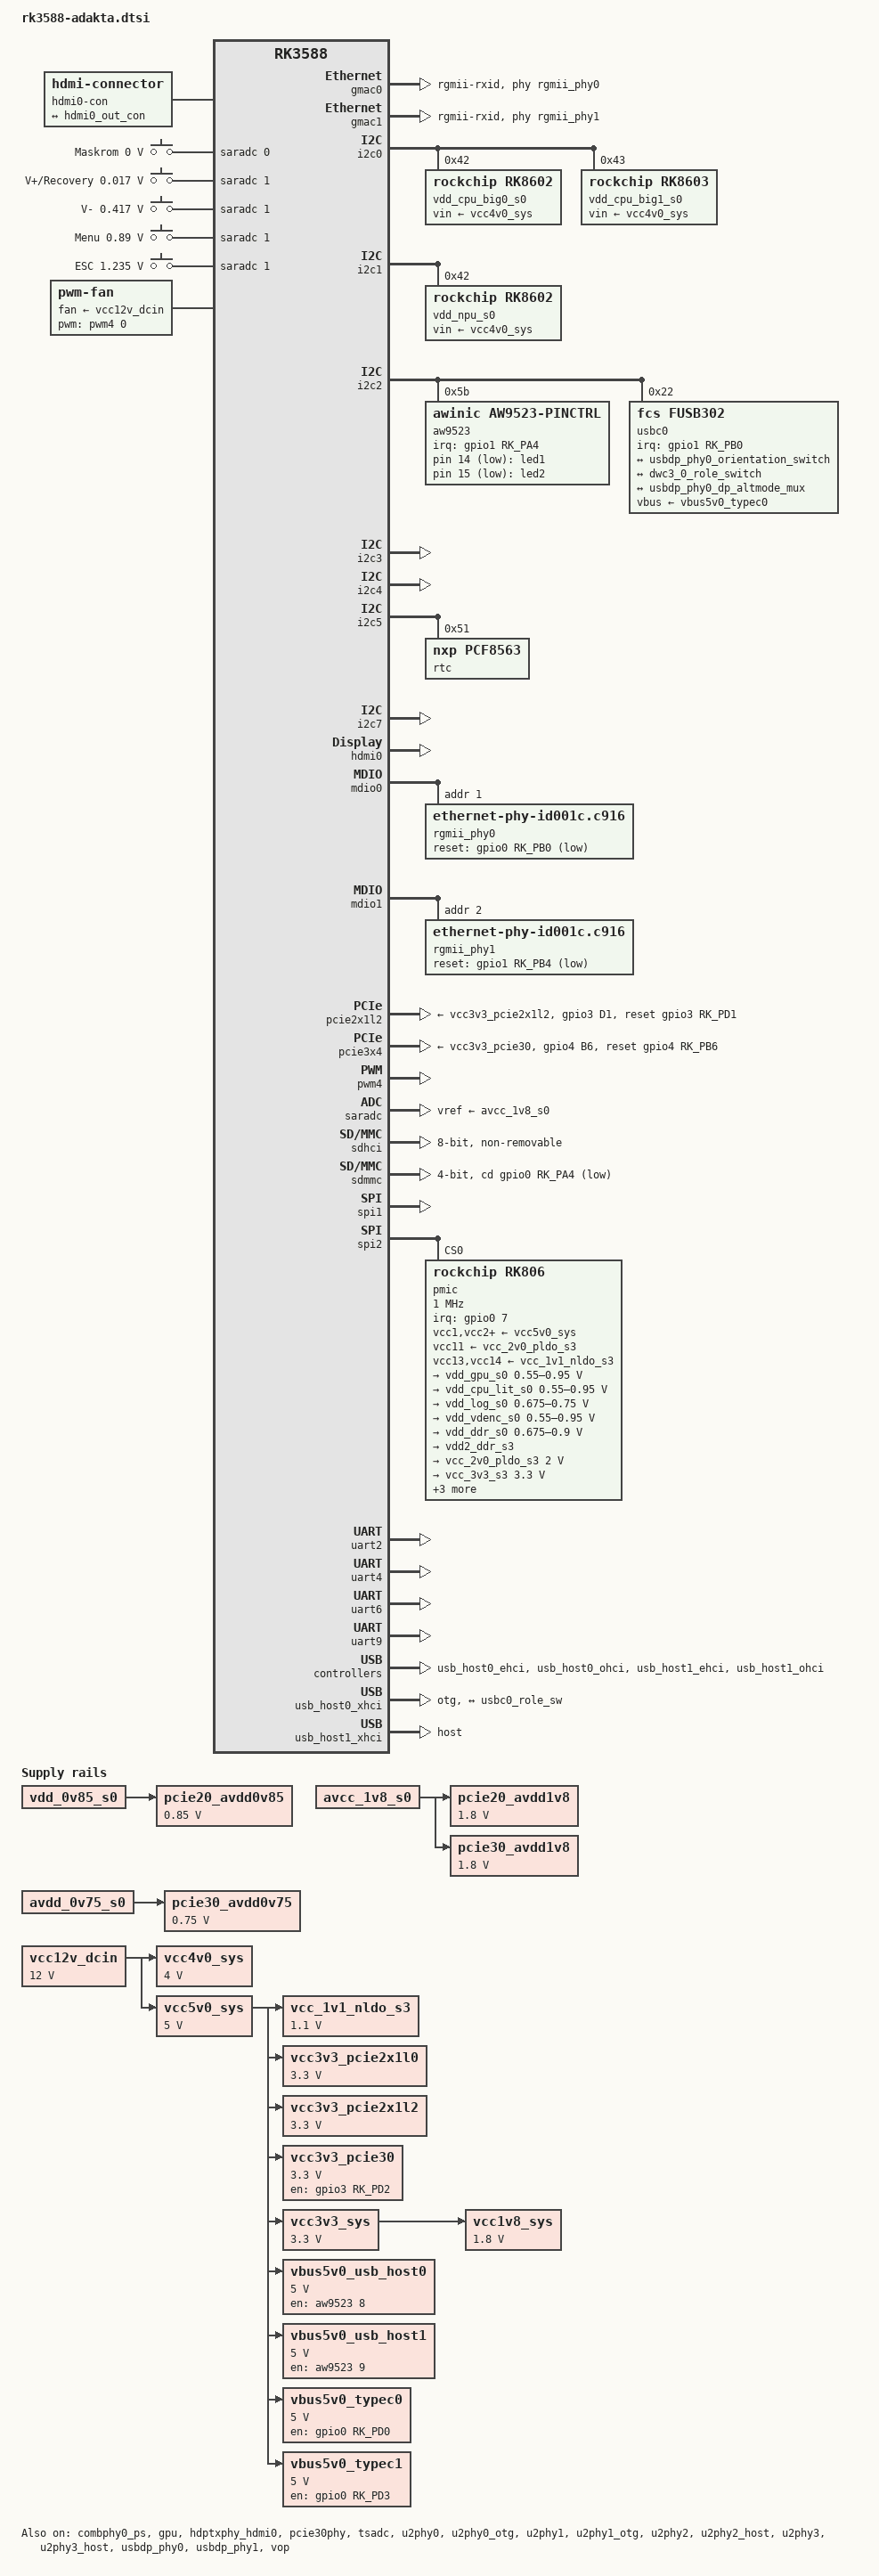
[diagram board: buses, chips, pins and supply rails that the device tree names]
// SPDX-License-Identifier: (GPL-2.0+ OR MIT)

#include <dt-bindings/gpio/gpio.h>
#include <dt-bindings/input/input.h>
#include <dt-bindings/leds/common.h>
#include <dt-bindings/soc/rockchip,vop2.h>
#include <dt-bindings/usb/pd.h>
#include "rk3588.dtsi"
//#include "rk3588-extra-old.dtsi"
#include "rk3588-extra-new.dtsi"

/ {
	compatible = "adakta,adakta-rk3588", "rockchip,rk3588";

	aliases {
		ethernet0 = &gmac0;
		ethernet1 = &gmac1;
		mmc0 = &sdhci;
		mmc1 = &sdmmc;
	};

	chosen {
		stdout-path = "serial2:1500000n8";
	};

	hdmi0-con {
		compatible = "hdmi-connector";
		type = "d";

		port {
			hdmi0_con_in: endpoint {
				remote-endpoint = <&hdmi0_out_con>;
			};
		};
	};

	pcie20_avdd0v85: pcie20-avdd0v85-regulator {
		compatible = "regulator-fixed";
		regulator-name = "pcie20_avdd0v85";
		regulator-always-on;
		regulator-boot-on;
		regulator-min-microvolt = <850000>;
		regulator-max-microvolt = <850000>;
		vin-supply = <&vdd_0v85_s0>;
	};

	pcie20_avdd1v8: pcie20-avdd1v8-regulator {
		compatible = "regulator-fixed";
		regulator-name = "pcie20_avdd1v8";
		regulator-always-on;
		regulator-boot-on;
		regulator-min-microvolt = <1800000>;
		regulator-max-microvolt = <1800000>;
		vin-supply = <&avcc_1v8_s0>;
	};

	pcie30_avdd0v75: pcie30-avdd0v75-regulator {
		compatible = "regulator-fixed";
		regulator-name = "pcie30_avdd0v75";
		regulator-always-on;
		regulator-boot-on;
		regulator-min-microvolt = <750000>;
		regulator-max-microvolt = <750000>;
		vin-supply = <&avdd_0v75_s0>;
	};

	pcie30_avdd1v8: pcie30-avdd1v8-regulator {
		compatible = "regulator-fixed";
		regulator-name = "pcie30_avdd1v8";
		regulator-always-on;
		regulator-boot-on;
		regulator-min-microvolt = <1800000>;
		regulator-max-microvolt = <1800000>;
		vin-supply = <&avcc_1v8_s0>;
	};

	vcc_1v1_nldo_s3: vcc-1v1-nldo-s3-regulator {
		compatible = "regulator-fixed";
		regulator-name = "vcc_1v1_nldo_s3";
		regulator-always-on;
		regulator-boot-on;
		regulator-min-microvolt = <1100000>;
		regulator-max-microvolt = <1100000>;
		vin-supply = <&vcc5v0_sys>;
	};

	vcc4v0_sys: vcc4v0-sys-regulator {
		compatible = "regulator-fixed";
		regulator-name = "vcc4v0_sys";
		regulator-always-on;
		regulator-boot-on;
		regulator-min-microvolt = <4000000>;
		regulator-max-microvolt = <4000000>;
		vin-supply = <&vcc12v_dcin>;
	};

	vcc12v_dcin: vcc12v-dcin-regulator {
		compatible = "regulator-fixed";
		regulator-name = "vcc12v_dcin";
		regulator-always-on;
		regulator-boot-on;
		regulator-min-microvolt = <12000000>;
		regulator-max-microvolt = <12000000>;
	};

	vcc1v8_sys: vcc1v8-sys-regulator {
		compatible = "regulator-fixed";
		regulator-name = "vcc1v8_sys";
		regulator-always-on;
		regulator-boot-on;
		regulator-min-microvolt = <1800000>;
		regulator-max-microvolt = <1800000>;
		vin-supply = <&vcc3v3_sys>;
	};

	vcc3v3_pcie2x1l0: vcc3v3-pcie2x1l0-regulator {
		compatible = "regulator-fixed";
		regulator-name = "vcc3v3_pcie2x1l0";
		regulator-min-microvolt = <3300000>;
		regulator-max-microvolt = <3300000>;
		startup-delay-us = <50000>;
		vin-supply = <&vcc5v0_sys>;
	};

	vcc3v3_pcie2x1l2: vcc3v3-pcie2x1l2-regulator {
		compatible = "regulator-fixed";
		regulator-name = "vcc3v3_pcie2x1l2";
		regulator-min-microvolt = <3300000>;
		regulator-max-microvolt = <3300000>;
		startup-delay-us = <5000>;
		vin-supply = <&vcc5v0_sys>;
	};

	vcc3v3_pcie30: vcc3v3_pcie30-regulator {
		compatible = "regulator-fixed";
		regulator-name = "vcc3v3_pcie30";
		regulator-min-microvolt = <3300000>;
		regulator-max-microvolt = <3300000>;
		vin-supply = <&vcc5v0_sys>;
		enable-active-high;
		gpios = <&gpio3 RK_PD2 GPIO_ACTIVE_HIGH>;
		startup-delay-us = <5000>;
		pinctrl-names = "default";
		pinctrl-0 = <&pcie3_pwr_en>;
	};

	vcc3v3_sys: vcc3v3-sys-regulator {
		compatible = "regulator-fixed";
		regulator-name = "vcc3v3_sys";
		regulator-always-on;
		regulator-boot-on;
		regulator-min-microvolt = <3300000>;
		regulator-max-microvolt = <3300000>;
		vin-supply = <&vcc5v0_sys>;
	};

	vcc5v0_sys: vcc5v0-sys-regulator {
		compatible = "regulator-fixed";
		regulator-name = "vcc5v0_sys";
		regulator-always-on;
		regulator-boot-on;
		regulator-min-microvolt = <5000000>;
		regulator-max-microvolt = <5000000>;
		vin-supply = <&vcc12v_dcin>;
	};

	vbus5v0_usb_host0: vbus5v0-usb-host0 {
		compatible = "regulator-fixed";
		regulator-name = "vbus5v0_usb_host0";
		regulator-min-microvolt = <5000000>;
		regulator-max-microvolt = <5000000>;
		enable-active-high;
		gpio = <&aw9523 8 GPIO_ACTIVE_HIGH>;
		vin-supply = <&vcc5v0_sys>;
		pinctrl-names = "default";
		pinctrl-0 = <&aw9523_pwr_en_usb_host0_pins>;
	};

	vbus5v0_usb_host1: vbus5v0-usb-host1 {
		compatible = "regulator-fixed";
		regulator-name = "vbus5v0_usb_host1";
		regulator-min-microvolt = <5000000>;
		regulator-max-microvolt = <5000000>;
		enable-active-high;
		gpio = <&aw9523 9 GPIO_ACTIVE_HIGH>;
		vin-supply = <&vcc5v0_sys>;
		pinctrl-names = "default";
		pinctrl-0 = <&aw9523_pwr_en_usb_host1_pins>;
	};

	vbus5v0_typec0: vbus5v0-typec0 {
		compatible = "regulator-fixed";
		regulator-name = "vbus5v0_typec0";
		regulator-min-microvolt = <5000000>;
		regulator-max-microvolt = <5000000>;
		enable-active-high;
		gpio = <&gpio0 RK_PD0 GPIO_ACTIVE_HIGH>;
		vin-supply = <&vcc5v0_sys>;
		pinctrl-names = "default";
		pinctrl-0 = <&typec0_pwr_en>;
	};

	vbus5v0_typec1: vbus5v0-typec1 {
		compatible = "regulator-fixed";
		regulator-name = "vbus5v0_typec1";
		regulator-min-microvolt = <5000000>;
		regulator-max-microvolt = <5000000>;
		enable-active-high;
		gpio = <&gpio0 RK_PD3 GPIO_ACTIVE_HIGH>;
		vin-supply = <&vcc5v0_sys>;
		pinctrl-names = "default";
		pinctrl-0 = <&typec1_pwr_en>;
	};

	gpio-leds {
		compatible = "gpio-leds";
		pinctrl-names = "default";
		pinctrl-0 = <&aw9523_gpio_pins &aw9523_led_pins &atlas200_pwr_en &extra_out_pins>;

		aw9523_led_1: led1 {
			label = "led1";
			gpios = <&aw9523 14 GPIO_ACTIVE_LOW>;
		};

		aw9523_led_2: led2 {
			label = "led2";
			gpios = <&aw9523 15 GPIO_ACTIVE_LOW>;
		};
	};

	gpio-keys {
		compatible = "gpio-keys";
		pinctrl-names = "default";
		pinctrl-0 = <&atlas200_int &atlas200_det &extra_in_pins>;
	};

	// TODO: ???
	adc-keys-0 {
		compatible = "adc-keys";
		io-channels = <&saradc 0>;
		io-channel-names = "buttons";
		keyup-threshold-microvolt = <1800000>;
		poll-interval = <100>;

		button-maskrom {
			label = "Maskrom";
			linux,code = <KEY_SETUP>;
			press-threshold-microvolt = <400>;
		};
	};

	// TODO: ???
	adc-keys-1 {
		compatible = "adc-keys";
		io-channels = <&saradc 1>;
		io-channel-names = "buttons";
		keyup-threshold-microvolt = <1800000>;
		poll-interval = <100>;

		button-volume-up {
			label = "V+/Recovery";
			linux,code = <KEY_VOLUMEUP>;
			press-threshold-microvolt = <17000>;
		};

		button-volume-down {
			label = "V-";
			linux,code = <KEY_VOLUMEDOWN>;
			press-threshold-microvolt = <417000>;
		};

		button-menu {
			label = "Menu";
			linux,code = <KEY_MENU>;
			press-threshold-microvolt = <890000>;
		};

		button-escape {
			label = "ESC";
			linux,code = <KEY_ESC>;
			press-threshold-microvolt = <1235000>;
		};
	};

	fan: pwm-fan {
		compatible = "pwm-fan";
		cooling-levels = <0 95 145 195 255>;
		fan-supply = <&vcc12v_dcin>;
		pwms = <&pwm4 0 50000 0>;
		#cooling-cells = <2>;
	};
};

&combphy0_ps {
	status = "okay";
};

&combphy1_ps {
	status = "disabled";
};

&combphy2_psu {
	status = "disabled";
};

&cpu_b0 {
	cpu-supply = <&vdd_cpu_big0_s0>;
	mem-supply = <&vdd_cpu_big0_s0>;
};

&cpu_b1 {
	cpu-supply = <&vdd_cpu_big0_s0>;
	mem-supply = <&vdd_cpu_big0_s0>;
};

&cpu_b2 {
	cpu-supply = <&vdd_cpu_big1_s0>;
	mem-supply = <&vdd_cpu_big1_s0>;
};

&cpu_b3 {
	cpu-supply = <&vdd_cpu_big1_s0>;
	mem-supply = <&vdd_cpu_big1_s0>;
};

&cpu_l0 {
	cpu-supply = <&vdd_cpu_lit_s0>;
	mem-supply = <&vdd_cpu_lit_mem_s0>;
};

&cpu_l1 {
	cpu-supply = <&vdd_cpu_lit_s0>;
	mem-supply = <&vdd_cpu_lit_mem_s0>;
};

&cpu_l2 {
	cpu-supply = <&vdd_cpu_lit_s0>;
	mem-supply = <&vdd_cpu_lit_mem_s0>;
};

&cpu_l3 {
	cpu-supply = <&vdd_cpu_lit_s0>;
	mem-supply = <&vdd_cpu_lit_mem_s0>;
};

&gmac0 {
	clock_in_out = "output";
	phy-handle = <&rgmii_phy0>;
	phy-mode = "rgmii-rxid";
	pinctrl-names = "default";
	pinctrl-0 = <&gmac0_miim
		     &gmac0_tx_bus2
		     &gmac0_rx_bus2
		     &gmac0_rgmii_clk
		     &gmac0_rgmii_bus>;
	tx_delay = <0x44>;
	rx_delay = <0x00>;
	status = "okay";
};

&gmac1 {
	clock_in_out = "output";
	phy-handle = <&rgmii_phy1>;
	phy-mode = "rgmii-rxid";
	pinctrl-names = "default";
	pinctrl-0 = <&gmac1_miim
		     &gmac1_tx_bus2
		     &gmac1_rx_bus2
		     &gmac1_rgmii_clk
		     &gmac1_rgmii_bus>;
	tx_delay = <0x44>;
	rx_delay = <0x00>;
	status = "okay";
};

&gpu {
	mali-supply = <&vdd_gpu_s0>;
	status = "okay";
};

&i2c0 {
	pinctrl-names = "default";
	pinctrl-0 = <&i2c0m2_xfer>;
	status = "okay";

	vdd_cpu_big0_s0: regulator@42 {
		compatible = "rockchip,rk8602";
		reg = <0x42>;
		fcs,suspend-voltage-selector = <1>;
		regulator-name = "vdd_cpu_big0_s0";
		regulator-always-on;
		regulator-boot-on;
		regulator-min-microvolt = <550000>;
		regulator-max-microvolt = <1050000>;
		regulator-ramp-delay = <2300>;
		vin-supply = <&vcc4v0_sys>;

		regulator-state-mem {
			regulator-off-in-suspend;
		};
	};

	vdd_cpu_big1_s0: regulator@43 {
		compatible = "rockchip,rk8603", "rockchip,rk8602";
		reg = <0x43>;
		fcs,suspend-voltage-selector = <1>;
		regulator-name = "vdd_cpu_big1_s0";
		regulator-always-on;
		regulator-boot-on;
		regulator-min-microvolt = <550000>;
		regulator-max-microvolt = <1050000>;
		regulator-ramp-delay = <2300>;
		vin-supply = <&vcc4v0_sys>;

		regulator-state-mem {
			regulator-off-in-suspend;
		};
	};
};

&i2c1 {
	pinctrl-names = "default";
	pinctrl-0 = <&i2c1m2_xfer>;
	status = "okay";

	vdd_npu_s0: regulator@42 {
		compatible = "rockchip,rk8602";
		reg = <0x42>;
		fcs,suspend-voltage-selector = <1>;
		regulator-name = "vdd_npu_s0";
		regulator-always-on;
		regulator-boot-on;
		regulator-min-microvolt = <550000>;
		regulator-max-microvolt = <950000>;
		regulator-ramp-delay = <2300>;
		vin-supply = <&vcc4v0_sys>;

		regulator-state-mem {
			regulator-off-in-suspend;
		};
	};
};

&i2c2 {
	pinctrl-names = "default";
	pinctrl-0 = <&i2c2m0_xfer>;
	status = "okay";

	aw9523: gpio-expander@5b {
		compatible = "awinic,aw9523-pinctrl";
		reg = <0x5b>;
		gpio-controller;
		#gpio-cells = <2>;

		pinctrl-names = "default";
		pinctrl-0 = <&aw9523_int>;

		interrupts-extended = <&gpio1 RK_PA4 IRQ_TYPE_EDGE_FALLING>;

		status = "okay";

		/omit-if-no-ref/
		aw9523_cam0_reset_pins: aw9523-cam0-reset-pins {
			pins = "gpio0";
			function = "gpio";
			input-disable;
			output-high;
		};

		/omit-if-no-ref/
		aw9523_cam0_powerdown_pins: aw9523-cam0-powerdown-pins {
			pins = "gpio1";
			function = "gpio";
			input-disable;
			output-low;
		};

		/omit-if-no-ref/
		aw9523_cam1_reset_pins: aw9523-cam1-reset-pins {
			pins = "gpio2";
			function = "gpio";
			input-disable;
			output-high;
		};

		/omit-if-no-ref/
		aw9523_cam1_powerdown_pins: aw9523-cam1-powerdown-pins {
			pins = "gpio3";
			function = "gpio";
			input-disable;
			output-low;
		};

		/omit-if-no-ref/
		aw9523_cam2_reset_pins: aw9523-cam2-reset-pins {
			pins = "gpio4";
			function = "gpio";
			input-disable;
			output-high;
		};

		/omit-if-no-ref/
		aw9523_cam2_powerdown_pins: aw9523-cam2-powerdown-pins {
			pins = "gpio5";
			function = "gpio";
			input-disable;
			output-low;
		};

		/omit-if-no-ref/
		aw9523_cam3_cam4_reset_pins: aw9523-cam3-cam4-reset-pins {
			pins = "gpio7";
			function = "gpio";
			input-disable;
			output-high;
		};

		/omit-if-no-ref/
		aw9523_cam3_cam4_powerdown_pins: aw9523-cam3-cam4-powerdown-pins {
			pins = "gpio6";
			function = "gpio";
			input-disable;
			output-low;
		};

		/omit-if-no-ref/
		aw9523_pwr_en_usb_host0_pins: aw9523-pwr-usb-host0-pins {
			pins = "gpio8";
			function = "gpio";
			input-disable;
			output-low;
		};

		/omit-if-no-ref/
		aw9523_pwr_en_usb_host1_pins: aw9523-pwr-usb-host1-pins {
			pins = "gpio9";
			function = "gpio";
			input-disable;
			output-low;
		};

		/omit-if-no-ref/
		aw9523_gpio_pins: aw9523-gpio-pins {
			pins = "gpio10", "gpio11", "gpio12", "gpio13";
			function = "gpio";
			input-disable;
			output-low;
		};

		/omit-if-no-ref/
		aw9523_led_pins: aw9523-led-pins {
			pins = "gpio14", "gpio15";
			function = "gpio";
			input-disable;
			output-low;
		};
	};

	usbc0: fusb302@22 {
		compatible = "fcs,fusb302";
		reg = <0x22>;
		interrupts-extended = <&gpio1 RK_PB0 IRQ_TYPE_LEVEL_LOW>;
		pinctrl-names = "default";
		pinctrl-0 = <&usbc0_int>;
		vbus-supply = <&vbus5v0_typec0>;
		status = "okay";

		usb_con: connector {
			compatible = "usb-c-connector";
			label = "USB-C";
			data-role = "dual";
			power-role = "dual";
			try-power-role = "sink";
			op-sink-microwatt = <1000000>;
			sink-pdos = <PDO_FIXED(5000, 1000, PDO_FIXED_USB_COMM)>;
			source-pdos = <PDO_FIXED(5000, 3000, PDO_FIXED_USB_COMM)>;

			// TODO:
			ports {
				#address-cells = <1>;
				#size-cells = <0>;

				port@0 {
					reg = <0>;

					usbc0_orien_sw: endpoint {
						remote-endpoint = <&usbdp_phy0_orientation_switch>;
					};
				};

				port@1 {
					reg = <1>;

					usbc0_role_sw: endpoint {
						remote-endpoint = <&dwc3_0_role_switch>;
					};
				};

				port@2 {
					reg = <2>;

					dp_altmode_mux: endpoint {
						remote-endpoint = <&usbdp_phy0_dp_altmode_mux>;
					};
				};
			};
		};
	};
};

&i2c3 {
	pinctrl-names = "default";
	pinctrl-0 = <&i2c3m0_xfer>;
	status = "okay";
};

&i2c4 {
	pinctrl-names = "default";
	pinctrl-0 = <&i2c4m1_xfer>;
	status = "okay";
};

&i2c5 {
	pinctrl-names = "default";
	pinctrl-0 = <&i2c5m2_xfer>;
	status = "okay";

	rtc: pcf8563@51 {
		compatible = "nxp,pcf8563";
		reg = <0x51>;
		status = "okay";
	};
};

&i2c7 {
	pinctrl-names = "default";
	pinctrl-0 = <&i2c7m0_xfer>;
	status = "okay";
};

&hdmi0 {
	pinctrl-names = "default";
	pinctrl-0 = <&hdmim0_tx0_cec
		     &hdmim1_tx0_hpd
		     &hdmim0_tx0_scl
		     &hdmim0_tx0_sda>;
	status = "okay";
};

&hdmi0_in {
	hdmi0_in_vp0: endpoint {
		remote-endpoint = <&vp0_out_hdmi0>;
	};
};

&hdmi0_out {
	hdmi0_out_con: endpoint {
		remote-endpoint = <&hdmi0_con_in>;
	};
};

&hdptxphy_hdmi0 {
	status = "okay";
};

&mdio0 {
	rgmii_phy0: ethernet-phy@1 {
		/* RTL8211F */
		compatible = "ethernet-phy-id001c.c916",
			     "ethernet-phy-ieee802.3-c22";
		reg = <0x1>;
		pinctrl-names = "default";
		pinctrl-0 = <&rtl8211f_0_rst>;
		reset-assert-us = <20000>;
		reset-deassert-us = <100000>;
		reset-gpios = <&gpio0 RK_PB0 GPIO_ACTIVE_LOW>;
	};
};

&mdio1 {
	rgmii_phy1: ethernet-phy@2 {
		/* RTL8211F */
		compatible = "ethernet-phy-id001c.c916",
			     "ethernet-phy-ieee802.3-c22";
		reg = <0x2>;
		pinctrl-names = "default";
		pinctrl-0 = <&rtl8211f_1_rst>;
		reset-assert-us = <20000>;
		reset-deassert-us = <100000>;
		reset-gpios = <&gpio1 RK_PB4 GPIO_ACTIVE_LOW>;
	};
};

&pcie2x1l0 {
	vpcie3v3-supply = <&vcc3v3_pcie2x1l0>;
	status = "disabled";
};

&pcie2x1l2 {
	pinctrl-names = "default";
	pinctrl-0 = <&pcie2_2_rst>;
	reset-gpios = <&gpio3 RK_PD1 GPIO_ACTIVE_HIGH>;
	vpcie3v3-supply = <&vcc3v3_pcie2x1l2>;
	status = "okay";
};

&pcie30phy {
	status = "okay";
};

&pcie3x4 {
	pinctrl-names = "default";
	pinctrl-0 = <&pcie3_rst>;
	reset-gpios = <&gpio4 RK_PB6 GPIO_ACTIVE_HIGH>;
	vpcie3v3-supply = <&vcc3v3_pcie30>;
	status = "okay";
};

&pd_gpu {
	domain-supply = <&vdd_gpu_s0>;
};

&pinctrl {
	aw9523 {
		/omit-if-no-ref/
		aw9523_int: aw9523-int-pin {
			rockchip,pins = <1 RK_PA4 RK_FUNC_GPIO &pcfg_pull_up>;
		};
	};

	atlas200 {
		/omit-if-no-ref/
		atlas200_int: atlas200-int {
			rockchip,pins = <1 RK_PA6 RK_FUNC_GPIO &pcfg_pull_up>;
		};

		/omit-if-no-ref/
		atlas200_det: atlas200-det {
			rockchip,pins = <1 RK_PB2 RK_FUNC_GPIO &pcfg_pull_none>;
		};

		/omit-if-no-ref/
		atlas200_pwr_en: atlas200-pwr-en {
			rockchip,pins = <3 RK_PD3 RK_FUNC_GPIO &pcfg_pull_none>;
		};
	};

	extra-gpios {
		/omit-if-no-ref/
		extra_out_pins: extra-out-pins {
			rockchip,pins = <2 RK_PC4 RK_FUNC_GPIO &pcfg_pull_none>, // EDP_HDP
					<4 RK_PA3 RK_FUNC_GPIO &pcfg_pull_none>,
					<4 RK_PA1 RK_FUNC_GPIO &pcfg_pull_none>,
					<0 RK_PC6 RK_FUNC_GPIO &pcfg_pull_none>,
					<0 RK_PC4 RK_FUNC_GPIO &pcfg_pull_none>,
					<4 RK_PB2 RK_FUNC_GPIO &pcfg_pull_none>,
					<4 RK_PB3 RK_FUNC_GPIO &pcfg_pull_none>;
		};

		/omit-if-no-ref/
		extra_in_pins: extra-in-pins {
			rockchip,pins = <4 RK_PA4 RK_FUNC_GPIO &pcfg_pull_none>,
					<4 RK_PA5 RK_FUNC_GPIO &pcfg_pull_none>;
		};
	};

	pcie2 {
		pcie2_2_rst: pcie2-2-rst {
			rockchip,pins = <3 RK_PD1 RK_FUNC_GPIO &pcfg_pull_none>;
		};
	};

	pcie3 {
		pcie3_rst: pcie3-rst {
			rockchip,pins = <4 RK_PB6 RK_FUNC_GPIO &pcfg_pull_none>;
		};

		pcie3_pwr_en: pcie3-pwr-en {
			rockchip,pins = <3 RK_PD2 RK_FUNC_GPIO &pcfg_pull_none>;
		};
	};

	rtl8211f {
		rtl8211f_0_rst: rtl8211f-0-rst {
			rockchip,pins = <0 RK_PB0 RK_FUNC_GPIO &pcfg_pull_none>;
		};
		rtl8211f_1_rst: rtl8211f-1-rst {
			rockchip,pins = <1 RK_PB4 RK_FUNC_GPIO &pcfg_pull_none>;
		};
	};

	usb-typec0 {
		/omit-if-no-ref/
		usbc0_int: usbc0-int {
			rockchip,pins = <1 RK_PB0 RK_FUNC_GPIO &pcfg_pull_up>;
		};

		/omit-if-no-ref/
		typec0_pwr_en: typec0-pwr-en {
			rockchip,pins = <0 RK_PD0 RK_FUNC_GPIO &pcfg_pull_none>;
		};

		/omit-if-no-ref/
		typec0_sbu1: typec0-sbu1 {
			rockchip,pins = <4 RK_PA0 RK_FUNC_GPIO &pcfg_pull_none>;
		};

		/omit-if-no-ref/
		typec0_sbu2: typec0-sbu2 {
			rockchip,pins = <4 RK_PB0 RK_FUNC_GPIO &pcfg_pull_none>;
		};
	};

	usb-typec1 {
		/omit-if-no-ref/
		usbc1_int: usbc1-int {
			rockchip,pins = <1 RK_PB3 RK_FUNC_GPIO &pcfg_pull_up>;
		};

		/omit-if-no-ref/
		typec1_pwr_en: typec1-pwr-en {
			rockchip,pins = <0 RK_PD3 RK_FUNC_GPIO &pcfg_pull_none>;
		};

		/omit-if-no-ref/
		typec1_sbu1: typec1-sbu1 {
			rockchip,pins = <4 RK_PA1 RK_FUNC_GPIO &pcfg_pull_none>;
		};

		/omit-if-no-ref/
		typec1_sbu2: typec1-sbu2 {
			rockchip,pins = <4 RK_PA2 RK_FUNC_GPIO &pcfg_pull_none>;
		};
	};
};

&pwm4 {
	status = "okay";
};

&saradc {
	vref-supply = <&avcc_1v8_s0>;
	status = "okay";
};

&sdhci {
	bus-width = <8>;
	mmc-hs400-1_8v;
	mmc-hs400-enhanced-strobe;
	no-sdio;
	no-sd;
	non-removable;
	status = "okay";
};

&sdmmc {
	bus-width = <4>;
	cap-mmc-highspeed;
	cap-sd-highspeed;
	cd-gpios = <&gpio0 RK_PA4 GPIO_ACTIVE_LOW>;
	disable-wp;
	max-frequency = <150000000>;
	no-sdio;
	no-mmc;
	sd-uhs-sdr104;
	vqmmc-supply = <&vccio_sd_s0>;
	status = "okay";
};

&spi1 {
	pinctrl-names = "default";
	pinctrl-0 = <&spi3m3_cs0 &spi3m3_cs1 &spi1m1_pins>;
	num-cs = <2>;
	status = "okay";
};

&spi2 {
	status = "okay";
	assigned-clocks = <&cru CLK_SPI2>;
	assigned-clock-rates = <200000000>;
	pinctrl-names = "default";
	pinctrl-0 = <&spi2m2_cs0 &spi2m2_pins>;
	num-cs = <1>;

	pmic@0 {
		compatible = "rockchip,rk806";
		spi-max-frequency = <1000000>;
		reg = <0x0>;

		interrupt-parent = <&gpio0>;
		interrupts = <7 IRQ_TYPE_LEVEL_LOW>;

		pinctrl-names = "default";
		pinctrl-0 = <&pmic_pins>, <&rk806_dvs1_null>,
			    <&rk806_dvs2_null>, <&rk806_dvs3_null>;

		system-power-controller;

		vcc1-supply = <&vcc5v0_sys>;
		vcc2-supply = <&vcc5v0_sys>;
		vcc3-supply = <&vcc5v0_sys>;
		vcc4-supply = <&vcc5v0_sys>;
		vcc5-supply = <&vcc5v0_sys>;
		vcc6-supply = <&vcc5v0_sys>;
		vcc7-supply = <&vcc5v0_sys>;
		vcc8-supply = <&vcc5v0_sys>;
		vcc9-supply = <&vcc5v0_sys>;
		vcc10-supply = <&vcc5v0_sys>;
		vcc11-supply = <&vcc_2v0_pldo_s3>;
		vcc12-supply = <&vcc5v0_sys>;
		vcc13-supply = <&vcc_1v1_nldo_s3>;
		vcc14-supply = <&vcc_1v1_nldo_s3>;
		vcca-supply = <&vcc5v0_sys>;

		gpio-controller;
		#gpio-cells = <2>;

		rk806_dvs1_null: dvs1-null-pins {
			pins = "gpio_pwrctrl1";
			function = "pin_fun0";
		};

		rk806_dvs2_null: dvs2-null-pins {
			pins = "gpio_pwrctrl2";
			function = "pin_fun0";
		};

		rk806_dvs3_null: dvs3-null-pins {
			pins = "gpio_pwrctrl3";
			function = "pin_fun0";
		};

		regulators {
			vdd_gpu_s0: vdd_gpu_mem_s0: dcdc-reg1 {
				regulator-boot-on;
				regulator-min-microvolt = <550000>;
				regulator-max-microvolt = <950000>;
				regulator-ramp-delay = <12500>;
				regulator-name = "vdd_gpu_s0";
				regulator-enable-ramp-delay = <400>;

				regulator-state-mem {
					regulator-off-in-suspend;
				};
			};

			vdd_cpu_lit_s0: vdd_cpu_lit_mem_s0: dcdc-reg2 {
				regulator-always-on;
				regulator-boot-on;
				regulator-min-microvolt = <550000>;
				regulator-max-microvolt = <950000>;
				regulator-ramp-delay = <12500>;
				regulator-name = "vdd_cpu_lit_s0";

				regulator-state-mem {
					regulator-off-in-suspend;
				};
			};

			vdd_log_s0: dcdc-reg3 {
				regulator-always-on;
				regulator-boot-on;
				regulator-min-microvolt = <675000>;
				regulator-max-microvolt = <750000>;
				regulator-ramp-delay = <12500>;
				regulator-name = "vdd_log_s0";

				regulator-state-mem {
					regulator-off-in-suspend;
					regulator-suspend-microvolt = <750000>;
				};
			};

			vdd_vdenc_s0: vdd_vdenc_mem_s0: dcdc-reg4 {
				regulator-always-on;
				regulator-boot-on;
				regulator-min-microvolt = <550000>;
				regulator-max-microvolt = <950000>;
				regulator-ramp-delay = <12500>;
				regulator-name = "vdd_vdenc_s0";

				regulator-state-mem {
					regulator-off-in-suspend;
				};
			};

			vdd_ddr_s0: dcdc-reg5 {
				regulator-always-on;
				regulator-boot-on;
				regulator-min-microvolt = <675000>;
				regulator-max-microvolt = <900000>;
				regulator-ramp-delay = <12500>;
				regulator-name = "vdd_ddr_s0";

				regulator-state-mem {
					regulator-off-in-suspend;
					regulator-suspend-microvolt = <850000>;
				};
			};

			vdd2_ddr_s3: dcdc-reg6 {
				regulator-always-on;
				regulator-boot-on;
				regulator-name = "vdd2_ddr_s3";

				regulator-state-mem {
					regulator-on-in-suspend;
				};
			};

			vcc_2v0_pldo_s3: dcdc-reg7 {
				regulator-always-on;
				regulator-boot-on;
				regulator-min-microvolt = <2000000>;
				regulator-max-microvolt = <2000000>;
				regulator-ramp-delay = <12500>;
				regulator-name = "vdd_2v0_pldo_s3";

				regulator-state-mem {
					regulator-on-in-suspend;
					regulator-suspend-microvolt = <2000000>;
				};
			};

			vcc_3v3_s3: dcdc-reg8 {
				regulator-always-on;
				regulator-boot-on;
				regulator-min-microvolt = <3300000>;
				regulator-max-microvolt = <3300000>;
				regulator-name = "vcc_3v3_s3";

				regulator-state-mem {
					regulator-on-in-suspend;
					regulator-suspend-microvolt = <3300000>;
				};
			};

			vddq_ddr_s0: dcdc-reg9 {
				regulator-always-on;
				regulator-boot-on;
				regulator-name = "vddq_ddr_s0";

				regulator-state-mem {
					regulator-off-in-suspend;
				};
			};

			vcc_1v8_s3: dcdc-reg10 {
				regulator-always-on;
				regulator-boot-on;
				regulator-min-microvolt = <1800000>;
				regulator-max-microvolt = <1800000>;
				regulator-name = "vcc_1v8_s3";

				regulator-state-mem {
					regulator-on-in-suspend;
					regulator-suspend-microvolt = <1800000>;
				};
			};

			avcc_1v8_s0: pldo-reg1 {
				regulator-always-on;
				regulator-boot-on;
				regulator-min-microvolt = <1800000>;
				regulator-max-microvolt = <1800000>;
				regulator-name = "avcc_1v8_s0";

				regulator-state-mem {
					regulator-off-in-suspend;
				};
			};

			vcc_1v8_s0: pldo-reg2 {
				regulator-always-on;
				regulator-boot-on;
				regulator-min-microvolt = <1800000>;
				regulator-max-microvolt = <1800000>;
				regulator-name = "vcc_1v8_s0";

				regulator-state-mem {
					regulator-off-in-suspend;
					regulator-suspend-microvolt = <1800000>;
				};
			};

			avdd_1v2_s0: pldo-reg3 {
				regulator-always-on;
				regulator-boot-on;
				regulator-min-microvolt = <1200000>;
				regulator-max-microvolt = <1200000>;
				regulator-name = "avdd_1v2_s0";

				regulator-state-mem {
					regulator-off-in-suspend;
				};
			};

			vcc_3v3_s0: pldo-reg4 {
				regulator-always-on;
				regulator-boot-on;
				regulator-min-microvolt = <3300000>;
				regulator-max-microvolt = <3300000>;
				regulator-ramp-delay = <12500>;
				regulator-name = "vcc_3v3_s0";

				regulator-state-mem {
					regulator-off-in-suspend;
				};
			};

			vccio_sd_s0: pldo-reg5 {
				regulator-always-on;
				regulator-boot-on;
				regulator-min-microvolt = <1800000>;
				regulator-max-microvolt = <3300000>;
				regulator-ramp-delay = <12500>;
				regulator-name = "vccio_sd_s0";

				regulator-state-mem {
					regulator-off-in-suspend;
				};
			};

			pldo6_s3: pldo-reg6 {
				regulator-always-on;
				regulator-boot-on;
				regulator-min-microvolt = <1800000>;
				regulator-max-microvolt = <1800000>;
				regulator-name = "pldo6_s3";

				regulator-state-mem {
					regulator-on-in-suspend;
					regulator-suspend-microvolt = <1800000>;
				};
			};

			vdd_0v75_s3: nldo-reg1 {
				regulator-always-on;
				regulator-boot-on;
				regulator-min-microvolt = <750000>;
				regulator-max-microvolt = <750000>;
				regulator-name = "vdd_0v75_s3";

				regulator-state-mem {
					regulator-on-in-suspend;
					regulator-suspend-microvolt = <750000>;
				};
			};

			vdd_ddr_pll_s0: nldo-reg2 {
				regulator-always-on;
				regulator-boot-on;
				regulator-min-microvolt = <850000>;
				regulator-max-microvolt = <850000>;
				regulator-name = "vdd_ddr_pll_s0";

				regulator-state-mem {
					regulator-off-in-suspend;
					regulator-suspend-microvolt = <850000>;
				};
			};

			avdd_0v75_s0: nldo-reg3 {
				regulator-always-on;
				regulator-boot-on;
				regulator-min-microvolt = <750000>;
				regulator-max-microvolt = <750000>;
				regulator-name = "avdd_0v75_s0";

				regulator-state-mem {
					regulator-off-in-suspend;
				};
			};

			vdd_0v85_s0: nldo-reg4 {
				regulator-always-on;
				regulator-boot-on;
				regulator-min-microvolt = <850000>;
				regulator-max-microvolt = <850000>;
				regulator-name = "vdd_0v85_s0";

				regulator-state-mem {
					regulator-off-in-suspend;
				};
			};

			vdd_0v75_s0: nldo-reg5 {
				regulator-always-on;
				regulator-boot-on;
				regulator-min-microvolt = <750000>;
				regulator-max-microvolt = <750000>;
				regulator-name = "vdd_0v75_s0";

				regulator-state-mem {
					regulator-off-in-suspend;
				};
			};
		};
	};
};

// TODO: ???
&tsadc {
	status = "okay";
};

&uart2 {
	pinctrl-0 = <&uart2m0_xfer>;
	status = "okay";
};

&uart4 {
	pinctrl-names = "default";
	pinctrl-0 = <&uart4m0_xfer>;
	status = "okay";
};

&uart6 {
	pinctrl-names = "default";
	pinctrl-0 = <&uart6m1_xfer &uart6m1_ctsn &uart6m1_rtsn>;
	status = "okay";
};

&uart9 {
	pinctrl-names = "default";
	pinctrl-0 = <&uart9m2_xfer>;
	status = "okay";
};

/* USB2 PHY for USB Type-C port */
/* CM3588 USB Controller Config Table: USB20 OTG0 */
&u2phy0 {
	status = "okay";
};

&u2phy0_otg {
	// TODO: OLD???
	// rockchip,typec-vbus-det;
	// TODO: NEW???
	// phy-supply = <&vbus5v0_typec0>;
	status = "okay";
};

/* USB2 PHY for USB 3.0 Type-A port 1 */
/* CM3588 USB Controller Config Table: USB20 OTG1 */
&u2phy1 {
	status = "okay";
};

&u2phy1_otg {
	phy-supply = <&vbus5v0_typec1>;
	status = "okay";
};

/* USB2 PHY for USB 2.0 Type-A */
/* CM3588 USB Controller Config Table: USB20 HOST0 */
&u2phy2 {
	status = "okay";
};

&u2phy2_host {
	phy-supply = <&vbus5v0_usb_host0>;
	status = "okay";
};

/* USB2 PHY for USB 3.0 Type-A port 2 */
/* CM3588 USB Controller Config Table: USB20 HOST1 */
&u2phy3 {
	status = "okay";
};

&u2phy3_host {
	phy-supply = <&vbus5v0_usb_host1>;
	status = "okay";
};

/* USB 2.0 Type-A */
/* PHY: <&u2phy2_host> */
&usb_host0_ehci {
	status = "okay";
};

/* USB 2.0 Type-A */
/* PHY: <&u2phy2_host> */
&usb_host0_ohci {
	status = "okay";
};

/* USB Type-C */
/* PHYs: <&u2phy0_otg>, <&usbdp_phy0 PHY_TYPE_USB3> */
&usb_host0_xhci {
	dr_mode = "otg";
	usb-role-switch;
	status = "okay";

	port {
		#address-cells = <1>;
		#size-cells = <0>;

		dwc3_0_role_switch: endpoint@0 {
			reg = <0>;
			remote-endpoint = <&usbc0_role_sw>;
		};
	};
};

/* Lower USB 3.0 Type-A (port 2) */
/* PHY: <&u2phy3_host> */
&usb_host1_ehci {
	status = "okay";
};

/* Lower USB 3.0 Type-A (port 2) */
/* PHY: <&u2phy3_host> */
&usb_host1_ohci {
	status = "okay";
};

/* Upper USB 3.0 Type-A (port 1) */
/* PHYs: <&u2phy1_otg>, <&usbdp_phy1 PHY_TYPE_USB3> */
&usb_host1_xhci {
	dr_mode = "host";
	status = "okay";
};

/* Lower USB 3.0 Type-A (port 2) */
/* PHYs: <&combphy2_psu PHY_TYPE_USB3> */
&usb_host2_xhci {
	status = "disabled";
};

/* USB3 PHY for USB Type-C port */
/* CM3588 USB Controller Config Table: USB30 OTG0 */
&usbdp_phy0 {
	mode-switch;
	orientation-switch;
	rockchip,dp-lane-mux = <2 3>;
	pinctrl-names = "default";
	pinctrl-0 = <&typec0_sbu1 &typec0_sbu2>;
	sbu1-dc-gpios = <&gpio4 RK_PA0 GPIO_ACTIVE_HIGH>;
	sbu2-dc-gpios = <&gpio4 RK_PB0 GPIO_ACTIVE_HIGH>;
	status = "okay";

	port {
		#address-cells = <1>;
		#size-cells = <0>;

		usbdp_phy0_orientation_switch: endpoint@0 {
			reg = <0>;
			remote-endpoint = <&usbc0_orien_sw>;
		};

		usbdp_phy0_dp_altmode_mux: endpoint@1 {
			reg = <1>;
			remote-endpoint = <&dp_altmode_mux>;
		};
	};
};

/* USB3 PHY for USB 3.0 Type-A port 1 */
/* CM3588 USB Controller Config Table: USB30 OTG1 */
&usbdp_phy1 {
	rockchip,dp-lane-mux = <2 3>;
	status = "okay";
};

&vop {
	vop-supply = <&vdd_log_s0>;
	status = "okay";
};

&vop_mmu {
	status = "okay";
};

&vp0 {
	vp0_out_hdmi0: endpoint@ROCKCHIP_VOP2_EP_HDMI0 {
		reg = <ROCKCHIP_VOP2_EP_HDMI0>;
		remote-endpoint = <&hdmi0_in_vp0>;
	};
};

/*

// DISPLAY PORT

/ {
	dp0_sound: dp0-sound {
		status = "disabled";
		compatible = "rockchip,hdmi";
		rockchip,card-name= "rockchip-dp0";
		rockchip,mclk-fs = <512>;
		rockchip,cpu = <&spdif_tx2>;
		rockchip,codec = <&dp0 1>;
		rockchip,jack-det;
	};
};

&dp0_sound {
	status = "okay";
};

&dp0 {
	status = "okay";
};

&dp0_in_vp0 {
	status = "okay";
};

&spdif_tx2 {
	status = "okay";
};

// CSI

//******************************************************************
// rkisp0 --> rkisp0_vir0/rkisp0_vir1/rkisp0_vir2/rkisp0_vir3
// rkisp1 --> rkisp1_vir0/rkisp1_vir1/rkisp1_vir2/rkisp1_vir3

// rkcif_mipi_lvds --> rkcif_mipi_lvds[0-4]_sditf

// mipicamera0 --> csi2_dcphy0 --> mipi0_csi2 -->rkcif_mipi_lvds  --> rkcif_mipi_lvds_sditf  --> rkisp0_vir0
// mipicamera1 --> csi2_dcphy1 --> mipi1_csi2 -->rkcif_mipi_lvds1 --> rkcif_mipi_lvds1_sditf --> rkisp0_vir1

// csi2_dphy0 or (csi2_dphy1、csi2_dphy2)	dphy0
// csi2_dphy3 or (csi2_dphy4、csi2_dphy5)	dphy1

// mipicamera2 --> csi2_dphy1 -->  mipi2_csi2 -->rkcif_mipi_lvds2 -->rkcif_mipi_lvds2_sditf  --> rkisp0_vir2
// mipicamera3 --> csi2_dphy2 -->  mipi3_csi2 -->rkcif_mipi_lvds3 -->rkcif_mipi_lvds3_sditf  --> rkisp1_vir0
// mipicamera4 --> csi2_dphy4 -->  mipi4_csi2 -->rkcif_mipi_lvds4 -->rkcif_mipi_lvds4_sditf  --> rkisp1_vir1
// mipicamera5 --> csi2_dphy5 -->  mipi5_csi2 -->rkcif_mipi_lvds5 -->rkcif_mipi_lvds5_sditf  --> rkisp1_vir2

// mipicamera6 --> rkcif_dvp ---> rkcif_dvp_sditf
//******************************************************************

/ {
	ext_cam_clk: external-camera-clock {
		compatible = "fixed-clock";
		clock-frequency = <27000000>;
		clock-output-names = "CLK_CAMERA_27MHZ";
		#clock-cells = <0>;
	};

	camera_vdddo_1v8: camera-vdddo-1v8 {
		compatible = "regulator-fixed";
		regulator-name = "camera_vdddo";
		regulator-min-microvolt = <1800000>;
		regulator-max-microvolt = <1800000>;
		regulator-always-on;
	};

	camera_vdda_2v8: camera-vdda-2v8 {
		compatible = "regulator-fixed";
		regulator-name = "camera_vdda";
		regulator-min-microvolt = <2800000>;
		regulator-max-microvolt = <2800000>;
		regulator-always-on;
	};

	camera_vddd_1v5: camera-vddd-1v5 {
		compatible = "regulator-fixed";
		regulator-name = "camera_vddd";
		regulator-min-microvolt = <1500000>;
		regulator-max-microvolt = <1500000>;
		regulator-always-on;
	};
};

&rkcif {
	status = "okay";
};

&rkcif_mmu {
	status = "okay";
};

&rkisp0 {
	status = "okay";
};

&rkisp1 {
	status = "okay";
};

&isp0_mmu {
	status = "okay";
};

&isp1_mmu {
	status = "okay";
};

&mipi_dcphy0 {
	status = "okay";
};

&mipi_dcphy1 {
	status = "okay";
};

&csi2_dphy0_hw {
	status = "okay";
};

&csi2_dphy1_hw {
	status = "okay";
};

//************************************************
//***  CAM0 OV5640 Configuration Description  ****
//************************************************

&i2c3 {
	status = "okay";
	clock-frequency = <400000>;

	cam0_ov5640: cam0_ov5640@3c {
		compatible = "ovti,ov5640";
		status = "okay";
		reg = <0x3c>;

		power-domains = <&power RK3588_PD_VI>;
		rockchip,grf = <&sys_grf>;

		pinctrl-names = "default";
		pinctrl-0 = <&mipim0_camera1_clk &aw9523_cam0_powerdown_pins &aw9523_cam0_reset_pins>;

		reset-gpios = <&aw9523 0 GPIO_ACTIVE_HIGH>;
		powerdown-gpios = <&aw9523 1 GPIO_ACTIVE_LOW>;

		clocks = <&cru CLK_MIPI_CAMARAOUT_M1>;
		clock-names = "xclk";
		clock-frequency = <24000000>;

		AVDD-supply = <&camera_vdda_2v8>;
		DOVDD-supply = <&camera_vdddo_1v8>;
		DVDD-supply = <&camera_vddd_1v5>;

		rockchip,camera-module-index = <0>;
		rockchip,camera-module-facing = "back";
		rockchip,camera-module-name = "KLT-KD6-OV5640";
		rockchip,camera-module-lens-name = "default";

		port {
			cam0_ov5640_out: endpoint {
				remote-endpoint = <&mipi_in_ucam0>;
				data-lanes = <1 2>;
			};
		};
	};
};

&csi2_dcphy0 {
	status = "okay";
	ports {
		#address-cells = <1>;
		#size-cells = <0>;
		port@0 {
			reg = <0>;
			#address-cells = <1>;
			#size-cells = <0>;
			mipi_in_ucam0: endpoint@1 {
				reg = <1>;
				remote-endpoint = <&cam0_ov5640_out>;
				data-lanes = <1 2>;
			};
		};
		port@1 {
			reg = <1>;
			#address-cells = <1>;
			#size-cells = <0>;
			csidcphy0_out: endpoint@0 {
				reg = <0>;
				remote-endpoint = <&mipi0_csi2_input>;
			};
		};
	};
};

&mipi0_csi2 {
	status = "okay";
	ports {
		#address-cells = <1>;
		#size-cells = <0>;
		port@0 {
			reg = <0>;
			#address-cells = <1>;
			#size-cells = <0>;
			mipi0_csi2_input: endpoint@1 {
				reg = <1>;
				remote-endpoint = <&csidcphy0_out>;
			};
		};
		port@1 {
			reg = <1>;
			#address-cells = <1>;
			#size-cells = <0>;
			mipi0_csi2_output: endpoint@0 {
				reg = <0>;
				remote-endpoint = <&cif_mipi_in0>;
			};
		};
	};
};

&rkcif_mipi_lvds {
	status = "okay";
	port {
		cif_mipi_in0: endpoint {
			remote-endpoint = <&mipi0_csi2_output>;
		};
	};
};

&rkcif_mipi_lvds_sditf {
	status = "okay";
	port {
		mipi0_lvds_sditf: endpoint {
			remote-endpoint = <&isp0_vir0>;
		};
	};
};

&rkisp0_vir0 {
	status = "okay";
	port {
		#address-cells = <1>;
		#size-cells = <0>;
		isp0_vir0: endpoint@0 {
			reg = <0>;
			remote-endpoint = <&mipi0_lvds_sditf>;
		};
	};
};

//************************************************
//***  CAM1 OV5640 Configuration Description  ****
//************************************************

&i2c7 {
	status = "okay";
	clock-frequency = <400000>;

	cam1_ov5640: cam1_ov5640@3c {
		compatible = "ovti,ov5640";
		status = "okay";
		reg = <0x3c>;

		power-domains = <&power RK3588_PD_VI>;
		rockchip,grf = <&sys_grf>;

		pinctrl-names = "default";
		pinctrl-0 = <&mipim0_camera2_clk &aw9523_cam1_powerdown_pins &aw9523_cam1_reset_pins>;

		reset-gpios = <&aw9523 2 GPIO_ACTIVE_HIGH>;
		powerdown-gpios = <&aw9523 3 GPIO_ACTIVE_LOW>;

		clocks = <&cru CLK_MIPI_CAMARAOUT_M2>;
		clock-names = "xclk";
		clock-frequency = <24000000>;

		AVDD-supply = <&camera_vdda_2v8>;
		DOVDD-supply = <&camera_vdddo_1v8>;
		DVDD-supply = <&camera_vddd_1v5>;

		rockchip,camera-module-index = <1>;
		rockchip,camera-module-facing = "back";
		rockchip,camera-module-name = "KLT-KD6-OV5640";
		rockchip,camera-module-lens-name = "default";

		port {
			cam1_ov5640_out: endpoint {
				remote-endpoint = <&mipi_in_ucam1>;
				data-lanes = <1 2>;
			};
		};
	};
};

&csi2_dcphy1 {
	status = "okay";
	ports {
		#address-cells = <1>;
		#size-cells = <0>;
		port@0 {
			reg = <0>;
			#address-cells = <1>;
			#size-cells = <0>;
			mipi_in_ucam1: endpoint@1 {
				reg = <1>;
				remote-endpoint = <&cam1_ov5640_out>;
				data-lanes = <1 2>;
			};
		};
		port@1 {
			reg = <1>;
			#address-cells = <1>;
			#size-cells = <0>;
			csidcphy1_out: endpoint@0 {
				reg = <0>;
				remote-endpoint = <&mipi1_csi2_input>;
			};
		};
	};
};

&mipi1_csi2 {
	status = "okay";
	ports {
		#address-cells = <1>;
		#size-cells = <0>;
		port@0 {
			reg = <0>;
			#address-cells = <1>;
			#size-cells = <0>;
			mipi1_csi2_input: endpoint@1 {
				reg = <1>;
				remote-endpoint = <&csidcphy1_out>;
			};
		};
		port@1 {
			reg = <1>;
			#address-cells = <1>;
			#size-cells = <0>;
			mipi1_csi2_output: endpoint@0 {
				reg = <0>;
				remote-endpoint = <&cif_mipi_in1>;
			};
		};
	};
};

&rkcif_mipi_lvds1 {
	status = "okay";
	port {
		cif_mipi_in1: endpoint {
			remote-endpoint = <&mipi1_csi2_output>;
		};
	};
};

&rkcif_mipi_lvds1_sditf {
	status = "okay";
	port {
		mipi1_lvds_sditf: endpoint {
			remote-endpoint = <&isp1_vir0>;
		};
	};
};

&rkisp1_vir0 {
	status = "okay";
	port {
		#address-cells = <1>;
		#size-cells = <0>;
		isp1_vir0: endpoint@0 {
			reg = <0>;
			remote-endpoint = <&mipi1_lvds_sditf>;
		};
	};
};

//************************************************
//***  CAM2 OV5640 Configuration Description  ****
//************************************************

&i2c4 {
	status = "okay";
	clock-frequency = <400000>;

	cam2_ov5640: cam2_ov5640@3c {
		compatible = "ovti,ov5640";
		status = "okay";
		reg = <0x3c>;

		power-domains = <&power RK3588_PD_VI>;
		rockchip,grf = <&sys_grf>;

		pinctrl-names = "default";
		pinctrl-0 = <&mipim0_camera3_clk &aw9523_cam2_powerdown_pins &aw9523_cam2_reset_pins>;

		reset-gpios = <&aw9523 4 GPIO_ACTIVE_HIGH>;
		powerdown-gpios = <&aw9523 5 GPIO_ACTIVE_LOW>;

		clocks = <&cru CLK_MIPI_CAMARAOUT_M3>;
		clock-names = "xclk";
		clock-frequency = <24000000>;

		AVDD-supply = <&camera_vdda_2v8>;
		DOVDD-supply = <&camera_vdddo_1v8>;
		DVDD-supply = <&camera_vddd_1v5>;

		rockchip,camera-module-index = <2>;
		rockchip,camera-module-facing = "back";
		rockchip,camera-module-name = "KLT-KD6-OV5640";
		rockchip,camera-module-lens-name = "default";

		port {
			cam2_ov5640_out: endpoint {
				remote-endpoint = <&mipi_in_ucam2>;
				data-lanes = <1 2>;
			};
		};
	};
};

&csi2_dphy1 {
	status = "okay";
	ports {
		#address-cells = <1>;
		#size-cells = <0>;
		port@0 {
			reg = <0>;
			#address-cells = <1>;
			#size-cells = <0>;
			mipi_in_ucam2: endpoint@1 {
				reg = <1>;
				remote-endpoint = <&cam2_ov5640_out>;
				data-lanes = <1 2>;
			};
		};
		port@1 {
			reg = <1>;
			#address-cells = <1>;
			#size-cells = <0>;
			csidphy1_out: endpoint@0 {
				reg = <0>;
				remote-endpoint = <&mipi2_csi2_input>;
			};
		};
	};
};

&mipi2_csi2 {
	status = "okay";
	ports {
		#address-cells = <1>;
		#size-cells = <0>;
		port@0 {
			reg = <0>;
			#address-cells = <1>;
			#size-cells = <0>;
			mipi2_csi2_input: endpoint@1 {
				reg = <1>;
				remote-endpoint = <&csidphy1_out>;
			};
		};
		port@1 {
			reg = <1>;
			#address-cells = <1>;
			#size-cells = <0>;
			mipi2_csi2_output: endpoint@0 {
				reg = <0>;
				remote-endpoint = <&cif_mipi_in2>;
			};
		};
	};
};

&rkcif_mipi_lvds2 {
	status = "okay";
	port {
		cif_mipi_in2: endpoint {
			remote-endpoint = <&mipi2_csi2_output>;
		};
	};
};

&rkcif_mipi_lvds2_sditf {
	status = "okay";
	port {
		mipi2_lvds_sditf: endpoint {
			remote-endpoint = <&isp0_vir1>;
		};
	};
};

&rkisp0_vir1 {
	status = "okay";
	port {
		#address-cells = <1>;
		#size-cells = <0>;
		isp0_vir1: endpoint@0 {
			reg = <0>;
			remote-endpoint = <&mipi2_lvds_sditf>;
		};
	};
};

//************************************************
//***  CAM3 OV5640 Configuration Description  ****
//************************************************

&i2c7 {
	status = "okay";
	clock-frequency = <400000>;

	cam3_ov5640: cam3_ov5640@3c {
		compatible = "ovti,ov5640";
		status = "okay";
		reg = <0x3c>;

		power-domains = <&power RK3588_PD_VI>;
		rockchip,grf = <&sys_grf>;

		pinctrl-names = "default";
		pinctrl-0 = <&mipim0_camera4_clk &aw9523_cam3_cam4_powerdown_pins &aw9523_cam3_cam4_reset_pins>;

		reset-gpios = <&aw9523 7 GPIO_ACTIVE_HIGH>;
		powerdown-gpios = <&aw9523 6 GPIO_ACTIVE_LOW>;

		clocks = <&cru CLK_MIPI_CAMARAOUT_M4>;
		clock-names = "xclk";
		clock-frequency = <24000000>;

		AVDD-supply = <&camera_vdda_2v8>;
		DOVDD-supply = <&camera_vdddo_1v8>;
		DVDD-supply = <&camera_vddd_1v5>;

		rockchip,camera-module-index = <3>;
		rockchip,camera-module-facing = "back";
		rockchip,camera-module-name = "KLT-KD6-OV5640";
		rockchip,camera-module-lens-name = "default";

		port {
			cam3_ov5640_out: endpoint {
				remote-endpoint = <&mipi_in_ucam3>;
				data-lanes = <1 2>;
			};
		};
	};
};

&csi2_dphy2 {
	status = "okay";
	ports {
		#address-cells = <1>;
		#size-cells = <0>;
		port@0 {
			reg = <0>;
			#address-cells = <1>;
			#size-cells = <0>;
			mipi_in_ucam3: endpoint@1 {
				reg = <1>;
				remote-endpoint = <&cam3_ov5640_out>;
				data-lanes = <1 2>;
			};
		};
		port@1 {
			reg = <1>;
			#address-cells = <1>;
			#size-cells = <0>;
			csidphy2_out: endpoint@0 {
				reg = <0>;
				remote-endpoint = <&mipi3_csi2_input>;
			};
		};
	};
};

&mipi3_csi2 {
	status = "okay";
	ports {
		#address-cells = <1>;
		#size-cells = <0>;
		port@0 {
			reg = <0>;
			#address-cells = <1>;
			#size-cells = <0>;
			mipi3_csi2_input: endpoint@1 {
				reg = <1>;
				remote-endpoint = <&csidphy2_out>;
			};
		};
		port@1 {
			reg = <1>;
			#address-cells = <1>;
			#size-cells = <0>;
			mipi3_csi2_output: endpoint@0 {
				reg = <0>;
				remote-endpoint = <&cif_mipi_in3>;
			};
		};
	};
};

&rkcif_mipi_lvds3 {
	status = "okay";
	port {
		cif_mipi_in3: endpoint {
			remote-endpoint = <&mipi3_csi2_output>;
		};
	};
};

&rkcif_mipi_lvds3_sditf {
	status = "okay";
	port {
		mipi3_lvds_sditf: endpoint {
			remote-endpoint = <&isp1_vir1>;
		};
	};
};

&rkisp1_vir1 {
	status = "okay";
	port {
		#address-cells = <1>;
		#size-cells = <0>;
		isp1_vir1: endpoint@0 {
			reg = <0>;
			remote-endpoint = <&mipi3_lvds_sditf>;
		};
	};
};

//************************************************
//***  CAM4 OV5640 Configuration Description  ****
//************************************************

&i2c4 {
	status = "okay";
	clock-frequency = <400000>;

	cam4_ov5640: cam4_ov5640@3c {
		compatible = "ovti,ov5640";
		status = "okay";
		reg = <0x3c>;

		pinctrl-names = "default";
		pinctrl-0 = <&aw9523_cam3_cam4_powerdown_pins &aw9523_cam3_cam4_reset_pins>;

		reset-gpios = <&aw9523 7 GPIO_ACTIVE_HIGH>;
		powerdown-gpios = <&aw9523 6 GPIO_ACTIVE_LOW>;

		clocks = <&ext_cam_clk>;
		clock-names = "xclk";

		AVDD-supply = <&camera_vdda_2v8>;
		DOVDD-supply = <&camera_vdddo_1v8>;
		DVDD-supply = <&camera_vddd_1v5>;

		rockchip,camera-module-index = <4>;
		rockchip,camera-module-facing = "back";
		rockchip,camera-module-name = "KLT-KD6-OV5640";
		rockchip,camera-module-lens-name = "default";

		port {
			cam4_ov5640_out: endpoint {
				remote-endpoint = <&mipi_in_ucam4>;
				data-lanes = <1 2>;
			};
		};
	};
};

&csi2_dphy4 {
	status = "okay";
	ports {
		#address-cells = <1>;
		#size-cells = <0>;
		port@0 {
			reg = <0>;
			#address-cells = <1>;
			#size-cells = <0>;
			mipi_in_ucam4: endpoint@1 {
				reg = <1>;
				remote-endpoint = <&cam4_ov5640_out>;
				data-lanes = <1 2>;
			};
		};
		port@1 {
			reg = <1>;
			#address-cells = <1>;
			#size-cells = <0>;
			csidphy4_out: endpoint@0 {
				reg = <0>;
				remote-endpoint = <&mipi4_csi2_input>;
			};
		};
	};
};

&mipi4_csi2 {
	status = "okay";
	ports {
		#address-cells = <1>;
		#size-cells = <0>;
		port@0 {
			reg = <0>;
			#address-cells = <1>;
			#size-cells = <0>;
			mipi4_csi2_input: endpoint@1 {
				reg = <1>;
				remote-endpoint = <&csidphy4_out>;
			};
		};
		port@1 {
			reg = <1>;
			#address-cells = <1>;
			#size-cells = <0>;
			mipi4_csi2_output: endpoint@0 {
				reg = <0>;
				remote-endpoint = <&cif_mipi_in4>;
			};
		};
	};
};

&rkcif_mipi_lvds4 {
	status = "okay";
	port {
		cif_mipi_in4: endpoint {
			remote-endpoint = <&mipi4_csi2_output>;
		};
	};
};

&rkcif_mipi_lvds4_sditf {
	status = "okay";
	port {
		mipi4_lvds_sditf: endpoint {
			remote-endpoint = <&isp0_vir2>;
		};
	};
};

&rkisp0_vir2 {
	status = "okay";
	port {
		#address-cells = <1>;
		#size-cells = <0>;
		isp0_vir2: endpoint@0 {
			reg = <0>;
			remote-endpoint = <&mipi4_lvds_sditf>;
		};
	};
};

// TURN OFF ALL CAMERAS

&cam0_ov5640 {
	status = "disabled";
};

&cam1_ov5640 {
	status = "disabled";
};

&cam2_ov5640 {
	status = "disabled";
};

&cam3_ov5640 {
	status = "disabled";
};

&cam4_ov5640 {
	status = "disabled";
};


// ENABLE CAM4
&cam4_ov5640 {
	status = "okay";
};



*/
